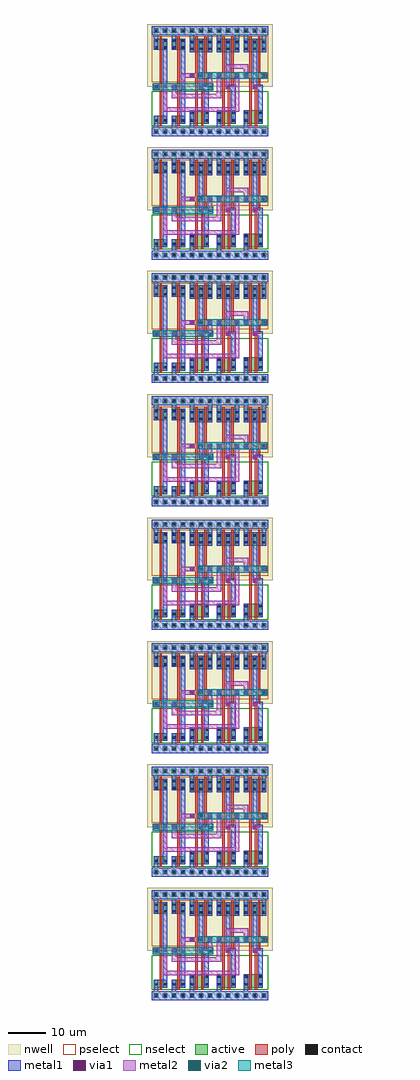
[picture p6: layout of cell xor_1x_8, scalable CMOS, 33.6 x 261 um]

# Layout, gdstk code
import gdstk
lib = gdstk.Library(unit=1e-6, precision=1e-09)
def R(c, l, rs):  # rectangles x0, y0, x1, y1
    for r in rs: c.add(gdstk.rectangle(r[:2], r[2:], *l))
def A(c, l, x, y, w, h, nx, ny, dx, dy):  # array of equal rectangles
    R(c, l, [(x+i*dx, y+j*dy, x+i*dx+w, y+j*dy+h) for i in range(nx) for j in range(ny)])
def P(c, l, *ps):  # polygons
    for p in ps: c.add(gdstk.Polygon(p, *l))
contact = (25, 0)
nwell = (42, 0)
active = (43, 0)
pselect = (44, 0)
nselect = (45, 0)
poly = (46, 0)
metal1 = (49, 0)
via1 = (50, 0)
metal2 = (51, 0)
via2 = (61, 0)
metal3 = (62, 0)

inv_1x = lib.new_cell('inv_1x')
R(inv_1x, contact, [(0.9,-0.3,1.5,0.3), (3.3,-0.3,3.9,0.3), (0.9,2.7,1.5,3.3), (3.3,2.7,3.9,3.3), (0.9,11.7,1.5,12.3), (0.9,22.2,1.5,22.8), (3.3,22.2,3.9,22.8), (0.9,24,1.5,24.6), (3.3,24,3.9,24.6), (0.9,26.7,1.5,27.3), (3.3,26.7,3.9,27.3)])
R(inv_1x, nwell, [(-1.2,12,6,28.8)])
R(inv_1x, active, [(0.6,-0.6,1.8,0.6), (3,-0.6,4.2,0.6), (0.6,2.1,4.2,4.2), (0.6,21.9,4.2,24.9), (0.6,26.4,1.8,27.6), (3,26.4,4.2,27.6)])
R(inv_1x, pselect, [(0,-1.2,4.8,1.2), (0,13.2,4.8,25.5)])
R(inv_1x, nselect, [(0,1.5,4.8,10.8), (0,25.8,4.8,28.2)])
R(inv_1x, poly, [(2.1,1.5,2.7,25.5), (0.6,11.4,2.1,12.6)])
R(inv_1x, metal1, [(0,-1.2,4.8,1.2), (0,-1.2,4.8,1.2), (0.6,1.2,1.8,4.2), (3,2.1,4.2,24.9), (0.6,11.4,1.8,12.6), (0.6,21.9,1.8,25.8), (0,25.8,4.8,28.2), (0,25.8,4.8,28.2)])
R(inv_1x, via1, [(0.9,11.7,1.5,12.3), (3.3,11.7,3.9,12.3)])
R(inv_1x, metal2, [(0.6,11.4,1.8,12.6), (0.6,11.4,1.8,12.6), (0.6,11.4,1.8,12.6), (0.9,11.4,2.1,12.6), (3,11.4,4.2,12.6), (3,11.4,4.2,12.6)])

nand2_1x = lib.new_cell('nand2_1x')
A(nand2_1x, contact, 0.9, -0.3, 0.6, 0.6, 3, 2, 2.4, 22.2)
A(nand2_1x, contact, 0.9, 23.7, 0.6, 0.6, 3, 2, 2.4, 3)
R(nand2_1x, contact, [(0.9,2.7,1.5,3.3), (4.8,2.7,5.4,3.3), (0.9,4.8,1.5,5.4), (4.8,4.8,5.4,5.4), (0.9,14.7,1.5,15.3), (5.7,14.7,6.3,15.3)])
R(nand2_1x, nwell, [(-1.2,12,8.4,28.8)])
A(nand2_1x, active, 0.6, -0.6, 1.2, 1.2, 3, 2, 2.4, 27)
R(nand2_1x, active, [(0.6,2.1,5.7,5.7), (0.6,21.3,6.6,24.9)])
R(nand2_1x, pselect, [(0,-1.2,7.2,1.2), (0,13.2,7.2,25.5)])
R(nand2_1x, nselect, [(0,1.5,7.2,10.8), (0,25.8,7.2,28.2)])
P(nand2_1x, poly, [(2.7,25.5),(2.1,25.5),(2.1,15.6),(0.6,15.6),(0.6,14.4),(2.1,14.4),(2.1,1.5),(2.7,1.5)],
  [(6.6,15.6),(5.1,15.6),(5.1,25.5),(4.5,25.5),(4.5,12.6),(3.6,12.6),(3.6,1.5),(4.2,1.5),(4.2,12),(5.1,12),(5.1,14.4),(6.6,14.4)])
R(nand2_1x, metal1, [(0,-1.2,7.2,1.2), (0.6,14.4,1.8,15.6), (5.4,14.4,6.6,15.6), (0,25.8,7.2,28.2)])
P(nand2_1x, metal1, [(5.7,12.6),(4.2,12.6),(4.2,24.9),(3,24.9),(3,11.4),(4.5,11.4),(4.5,2.1),(5.7,2.1)],
  [(7.2,28.2),(0,28.2),(0,25.8),(0.6,25.8),(0.6,21.3),(1.8,21.3),(1.8,25.8),(5.4,25.8),(5.4,21.3),(6.6,21.3),(6.6,25.8),(7.2,25.8)],
  [(7.2,1.2),(1.8,1.2),(1.8,5.7),(0.6,5.7),(0.6,1.2),(0,1.2),(0,-1.2),(7.2,-1.2)])
R(nand2_1x, via1, [(3.3,11.7,3.9,12.3), (0.9,14.7,1.5,15.3), (5.7,14.7,6.3,15.3)])
R(nand2_1x, metal2, [(3,11.4,4.2,12.6), (3,11.4,4.2,12.6), (0.6,14.4,1.8,15.6), (0.6,14.4,1.8,15.6), (5.4,14.4,6.6,15.6), (5.4,14.4,6.6,15.6)])

xor_1x = lib.new_cell('xor_1x')
R(xor_1x, metal1, [(0,-1.2,31.2,1.2), (0,25.8,31.2,28.2)])
R(xor_1x, metal2, [(3,5.4,23.4,6.6), (3,5.4,4.2,12.6), (22.2,5.4,23.4,15.6), (5.4,9,6.6,12.6), (5.4,9,18.6,10.2), (17.4,9,18.6,15.6), (0.6,11.4,1.8,12.6), (0.6,11.4,1.8,12.6), (5.4,11.4,6.6,12.6), (7.8,11.4,9,15.6), (12.6,11.4,13.8,15.6), (15,11.4,16.2,15.6), (19.8,11.4,21,18), (27,11.4,28.2,12.6), (7.8,14.4,11.4,15.6), (24.6,14.4,25.8,18), (29.4,14.4,30.6,15.6), (19.8,16.8,25.8,18)])
R(xor_1x, via2, [(0.9,11.7,1.5,12.3), (15.3,11.7,15.9,12.3), (12.9,14.7,13.5,15.3), (29.7,14.7,30.3,15.3)])
R(xor_1x, metal3, [(0.3,11.1,16.5,12.9), (12.3,14.1,30.9,15.9)])
xor_1x.add(gdstk.Reference(inv_1x, (4.8,0)))
xor_1x.add(gdstk.Reference(inv_1x, (0,0)))
xor_1x.add(gdstk.Reference(nand2_1x, (24,0)))
xor_1x.add(gdstk.Reference(nand2_1x, (16.8,0)))
xor_1x.add(gdstk.Reference(nand2_1x, (9.6,0)))

xor_1x_8 = lib.new_cell('xor_1x_8')
R(xor_1x_8, metal1, [(0,-1.2,31.2,1.2), (0,25.8,31.2,28.2), (0,31.8,31.2,34.2), (0,58.8,31.2,61.2), (0,64.8,31.2,67.2), (0,91.8,31.2,94.2), (0,97.8,31.2,100.2), (0,124.8,31.2,127.2), (0,130.8,31.2,133.2), (0,157.8,31.2,160.2), (0,163.8,31.2,166.2), (0,190.8,31.2,193.2), (0,196.8,31.2,199.2), (0,223.8,31.2,226.2), (0,229.8,31.2,232.2), (0,256.8,31.2,259.2)])
A(xor_1x_8, metal2, 0.6, 11.4, 1.2, 1.2, 1, 8, 0, 33)
A(xor_1x_8, metal2, 5.4, 11.4, 1.2, 1.2, 1, 8, 0, 33)
A(xor_1x_8, metal2, 27, 11.4, 1.2, 1.2, 1, 8, 0, 33)
r = gdstk.Reference(xor_1x, (0,0)); r.repetition = gdstk.Repetition(1, 8, v1=(33.6,0), v2=(0,33)); xor_1x_8.add(r)

lib.write_gds('xor_1x_8.gds')
